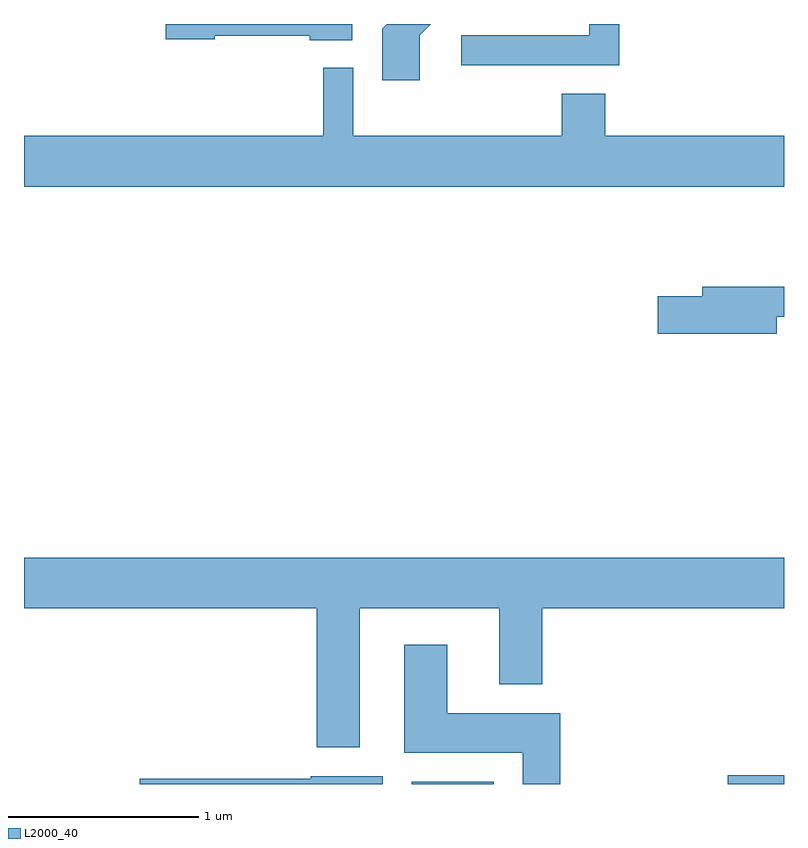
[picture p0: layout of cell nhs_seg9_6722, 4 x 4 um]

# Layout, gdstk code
import gdstk
lib = gdstk.Library(unit=1e-6, precision=1e-09)
def R(c, l, rs):  # rectangles x0, y0, x1, y1
    for r in rs: c.add(gdstk.rectangle(r[:2], r[2:], *l))
def P(c, l, *ps):  # polygons
    for p in ps: c.add(gdstk.Polygon(p, *l))
L2000_40 = (2000, 40)

nhs_seg9_6722 = lib.new_cell('nhs_seg9_6722')
R(nhs_seg9_6722, L2000_40, [(385.651,2006.432,386.084,2006.444), (387.316,2006.432,387.611,2006.479)])
P(nhs_seg9_6722, L2000_40, [(385.339,2010.432),(384.356,2010.432),(384.356,2010.351),(384.614,2010.351),(384.614,2010.371),(385.116,2010.371),(385.116,2010.346),(385.339,2010.346)],
  [(385.694,2010.374),(385.752,2010.432),(385.521,2010.432),(385.496,2010.407),(385.496,2010.136),(385.694,2010.136)],
  [(386.744,2010.432),(386.586,2010.432),(386.586,2010.374),(385.913,2010.374),(385.913,2010.216),(386.744,2010.216)],
  [(387.611,2009.844),(386.669,2009.844),(386.669,2010.064),(386.441,2010.064),(386.441,2009.844),(385.344,2009.844),(385.344,2010.203),(385.186,2010.203),(385.186,2009.844),(383.611,2009.844),(383.611,2009.576),(387.611,2009.576)],
  [(387.574,2008.891),(387.611,2008.891),(387.611,2009.049),(387.181,2009.049),(387.181,2008.999),(386.946,2008.999),(386.946,2008.801),(387.574,2008.801)],
  [(385.379,2007.356),(386.111,2007.356),(386.111,2006.956),(386.339,2006.956),(386.339,2007.356),(387.611,2007.356),(387.611,2007.624),(383.611,2007.624),(383.611,2007.356),(385.151,2007.356),(385.151,2006.626),(385.379,2006.626)],
  [(386.434,2006.804),(385.839,2006.804),(385.839,2007.164),(385.611,2007.164),(385.611,2006.596),(386.236,2006.596),(386.236,2006.432),(386.434,2006.432)],
  [(385.499,2006.474),(385.12,2006.474),(385.12,2006.459),(384.221,2006.459),(384.221,2006.432),(385.499,2006.432)])

lib.write_gds('nhs_seg9_6722.gds')
